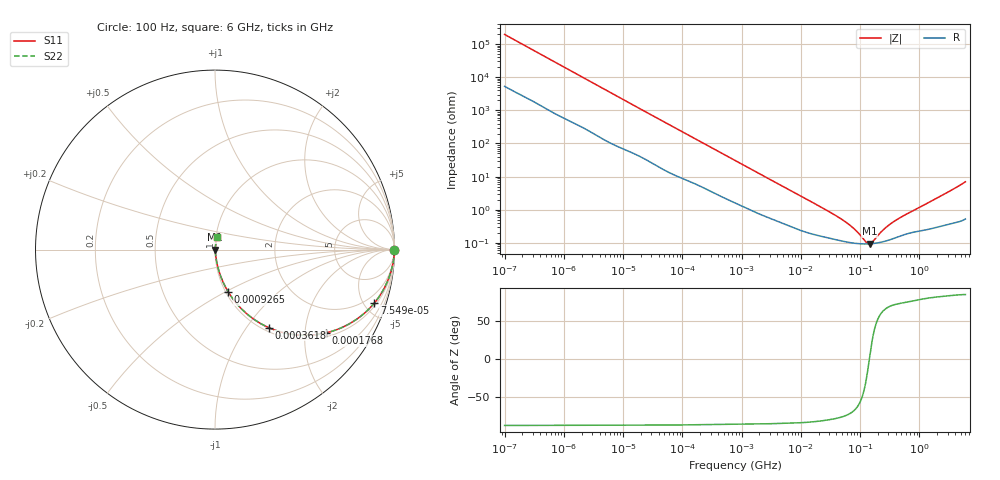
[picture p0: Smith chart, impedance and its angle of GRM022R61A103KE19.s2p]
!Murata Part Number: GRM022R61A103KE19
!These Parameters are Measured in Series Mode Connection
!Data Generated on Mar 30, 2021
!  o--ll--o
!Port1  Port2
!  o------o
!Operation Temp=25[degC], DC Bias Voltage=0[V]
!Freq. Start=100[Hz] Stop=6[GHz] 401[Steps]
# Hz S RI R 50
!Freq.(Hz) S11(Real) S11(Imag) S21(Real) S21(Imag) S12(Real) S12(Imag) S22(Real) S22(Imag)
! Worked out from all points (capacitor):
!   401 points, 100 Hz to 6 GHz, reference 50 ohm
!   read as one part in series: C = 8.11 nF near 109 Hz
!   lowest |Z| = 94.1 mohm at 145.9 MHz (marker M1)
!   series resonance near 143.6 MHz, so ESL is about 150 pH
!   S11 on the Smith chart (normalised r, x): 100 Hz: open; 75.5 kHz: 1.22, -5.88; 176.8 kHz: 1.11, -2.56; 361.8 kHz: 1.06, -1.28; 926.5 kHz: 1.03, -0.51; 6 GHz: 1.01, +0.14
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100  1 -0.000512  1.42e-05 0.000512  1.42e-05 0.000512  1 -0.000512
2008  0.9996 -0.00973  0.000393 0.00973  0.000393 0.00973  0.9996 -0.00973
12041  0.9949 -0.0561  0.00507 0.0561  0.00507 0.0561  0.9949 -0.0561
40335  0.9615 -0.1755  0.0385 0.1755  0.0385 0.1755  0.9615 -0.1755
75495  0.8876 -0.2979  0.1124 0.2979  0.1124 0.2979  0.8876 -0.2979
112960  0.7878 -0.3891  0.2122 0.3891  0.2122 0.3891  0.7878 -0.3891
176758  0.6171 -0.4643  0.3829 0.4643  0.3829 0.4643  0.6171 -0.4643
252896  0.4534 -0.4752  0.5466 0.4752  0.5466 0.4752  0.4534 -0.4752
361830  0.2997 -0.4349  0.7003 0.4349  0.7003 0.4349  0.2997 -0.4349
774597  0.0975 -0.2716  0.9025 0.2716  0.9025 0.2716  0.0975 -0.2716
926525  0.0733 -0.235  0.9267 0.235  0.9267 0.235  0.0733 -0.235
2967816  0.0123 -0.0819  0.9877 0.0819  0.9877 0.0819  0.0123 -0.0819
1.555665e7  0.00213 -0.0167  0.9979 0.0167  0.9979 0.0167  0.00213 -0.0167
5.699437e7  0.0011 -0.00414  0.9989 0.00414  0.9989 0.00414  0.0011 -0.00414
8.527865e7  0.000968 -0.00216  0.999 0.00216  0.999 0.00216  0.000968 -0.00216
1.275994e8  0.00093 -0.00047  0.9991 0.00047  0.9991 0.00047  0.00093 -0.00047
1.459435e8  0.000938 6.49e-05  0.9991 -6.49e-05  0.9991 -6.49e-05  0.000938 6.49e-05
1.669249e8  0.000958 0.0006  0.999 -0.0006  0.999 -0.0006  0.000958 0.0006
2.283698e8  0.00105 0.00189  0.9989 -0.00189  0.9989 -0.00189  0.00105 0.00189
3.124326e8  0.00124 0.00331  0.9988 -0.00331  0.9988 -0.00331  0.00124 0.00331
5.112761e8  0.00171 0.00598  0.9983 -0.00598  0.9983 -0.00598  0.00171 0.00598
6e9  0.01 0.0686  0.99 -0.0686  0.99 -0.0686  0.01 0.0686
